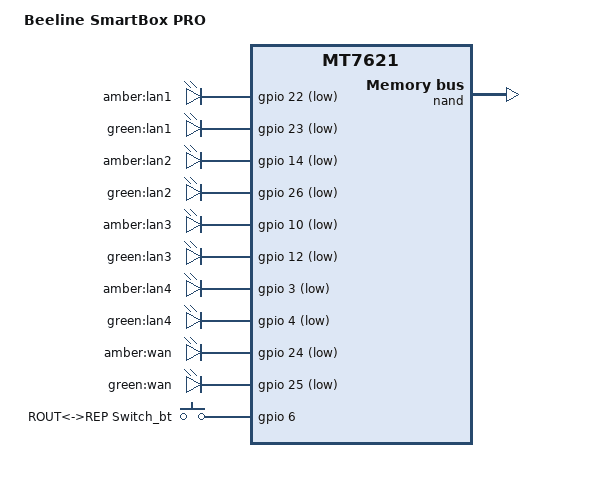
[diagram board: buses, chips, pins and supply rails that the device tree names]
// SPDX-License-Identifier: GPL-2.0-or-later OR MIT

#include "mt7621_sercomm_s1500.dtsi"

/ {
	compatible = "beeline,smartbox-pro", "mediatek,mt7621-soc";
	model = "Beeline SmartBox PRO";

	aliases {
		label-mac-device = &gmac0;
	};

	leds {
		lan1_amber {
			label = "amber:lan1";
			gpios = <&gpio 22 GPIO_ACTIVE_LOW>;
			linux,default-trigger = "dsa-0.0:03:link";
		};

		lan1_green {
			label = "green:lan1";
			gpios = <&gpio 23 GPIO_ACTIVE_LOW>;
			linux,default-trigger = "dsa-0.0:03:1Gbps";
		};

		lan2_amber {
			label = "amber:lan2";
			gpios = <&gpio 14 GPIO_ACTIVE_LOW>;
			linux,default-trigger = "dsa-0.0:02:link";
		};

		lan2_green {
			label = "green:lan2";
			gpios = <&gpio 26 GPIO_ACTIVE_LOW>;
			linux,default-trigger = "dsa-0.0:02:1Gbps";
		};

		lan3_amber {
			label = "amber:lan3";
			gpios = <&gpio 10 GPIO_ACTIVE_LOW>;
			linux,default-trigger = "dsa-0.0:01:link";
		};

		lan3_green {
			label = "green:lan3";
			gpios = <&gpio 12 GPIO_ACTIVE_LOW>;
			linux,default-trigger = "dsa-0.0:01:1Gbps";
		};

		lan4_amber {
			label = "amber:lan4";
			gpios = <&gpio 3 GPIO_ACTIVE_LOW>;
			linux,default-trigger = "dsa-0.0:00:link";
		};

		lan4_green {
			label = "green:lan4";
			gpios = <&gpio 4 GPIO_ACTIVE_LOW>;
			linux,default-trigger = "dsa-0.0:00:1Gbps";
		};

		wan_amber {
			label = "amber:wan";
			gpios = <&gpio 24 GPIO_ACTIVE_LOW>;
			linux,default-trigger = "dsa-0.0:04:link";
		};

		wan_green {
			label = "green:wan";
			gpios = <&gpio 25 GPIO_ACTIVE_LOW>;
			linux,default-trigger = "dsa-0.0:04:1Gbps";
		};
	};

	keys {
		switch_bt { // "LOW<->HIGH" Switch Button
			label = "ROUT<->REP Switch_bt";
			gpios = <&gpio 6 GPIO_ACTIVE_HIGH>;
			linux,input-type = <EV_SW>;
			linux,code = <KEY_RFKILL>;
			debounce-interval = <60>;
		};
	};

	ubi-concat {
		compatible = "mtd-concat";
		devices = <&ubiconcat0 &ubiconcat1 &ubiconcat2 &ubiconcat3 \
			&ubiconcat4 &ubiconcat5 &ubiconcat6>;

		partitions {
			compatible = "fixed-partitions";
			#address-cells = <1>;
			#size-cells = <1>;

			partition@0 {
				label = "ubi";
				reg = <0x0 0xd2e0000>;
			};
		};
	};
};

&nand {
	status = "okay";

	partitions {
		compatible = "fixed-partitions";
		#address-cells = <1>;
		#size-cells = <1>;

		partition@0_all {
			label = "ALL";
			reg = <0x0 0xff80000>;
			read-only;
		};

		partition@0 {
			label = "BootLoader";
			reg = <0x0 0x100000>;
			read-only;
		};

		factory: partition@100000 {
			label = "Factory";
			reg = <0x100000 0x100000>;
			read-only;
		};

		partition@200001 {
			label = "sys_data";
			reg = <0x200000 0x1400000>;
			read-only;
		}; // Uboot saveenv 0x600000 0x20000

		partition@1600000 {
			label = "boot_flag";
			reg = <0x1600000 0x100000>;
		};

		partition@1700000 {
			label = "kernel"; // Kernel_1
			reg = <0x1700000 0x400000>;
		};

		partition@1b00000 {
			label = "Kernel_2";
			reg = <0x1b00000 0x400000>;
			read-only;
		};

		ubiconcat0: partition@1f00000 {
			label = "RootFS_1";
			reg = <0x1f00000 0x1e00000>;
		};

		partition@3d00000 {
			label = "RootFS_2";
			reg = <0x3d00000 0x1e00000>;
			read-only;
		};

		ubiconcat1: partition@5b00000 {
			label = "JVM/OSGI1";
			reg = <0x5b00000 0x3200000>;
		};

		ubiconcat2: partition@8d00000 {
			label = "JVM/OSGI2";
			reg = <0x8d00000 0x3200000>;
		};

		ubiconcat3: partition@bf00000 {
			label = "OSGI data";
			reg = <0xbf00000 0x3c00000>;
		};

		ubiconcat4: partition@fb00000 {
			label = "Ftool";
			reg = <0xfb00000 0x100000>;
		};

		/*
		 * 4 MiB for Bad Block Table?
		 * 0x10000000-0xfc00000=0x400000
		 */

		partition@800000 {
			label = "BootLoad-Env";
			reg = <0x800000 0x20000>;
		};

		ubiconcat5: partition@200000 {
			label = "sysdata01";
			reg = <0x200000 0x600000>;
		};

		ubiconcat6: partition@820000 {
			label = "sysdata02";
			reg = <0x820000 0xde0000>;
		};
	};
};

&wlan_2g {
	mtd-mac-address = <&factory 0x21000>;
};

&wlan_5g {
	mtd-mac-address = <&factory 0x21000>;
	mac-address-increment = <2>;
};

&wan {
	mtd-mac-address = <&factory 0x21000>;
	mac-address-increment = <1>;
};

&gmac0 {
	mtd-mac-address = <&factory 0x21000>;
};
